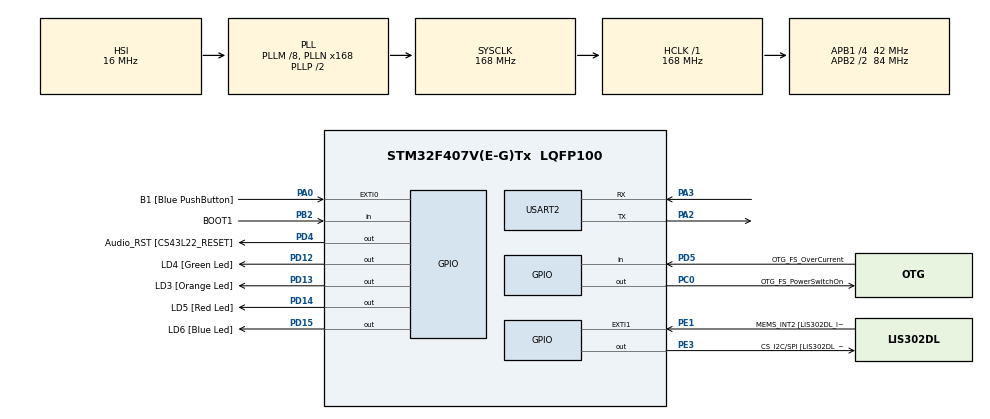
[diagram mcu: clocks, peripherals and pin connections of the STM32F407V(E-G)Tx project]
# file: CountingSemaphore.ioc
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FREERTOS.Tasks01=defaultTask,0,128,StartDefaultTask,Default,NULL,Dynamic,NULL,NULL
FREERTOS.configUSE_COUNTING_SEMAPHORES=1
Mcu.Family=STM32F4
Mcu.Name=STM32F407V(E-G)Tx
Mcu.Package=LQFP100
NVIC.PriorityGroup=NVIC_PRIORITYGROUP_4
NVIC.TIM6_DAC_IRQn=true\:15\:0\:false\:false\:true\:false\:false\:true\:true
NVIC.TimeBase=TIM6_DAC_IRQn
NVIC.TimeBaseIP=TIM6
NVIC.USART2_IRQn=true\:5\:0\:false\:false\:true\:true\:true\:true\:true
PA0-WKUP.GPIO_Label=B1 [Blue PushButton]
PA0-WKUP.Signal=GPXTI0
PA10.GPIO_Label=OTG_FS_ID
PA10.GPIO_Mode=GPIO_MODE_AF_PP
PA10.GPIO_PuPd=GPIO_NOPULL
PA10.GPIO_Speed=GPIO_SPEED_FREQ_LOW
PA10.Signal=USB_OTG_FS_ID
PA11.GPIO_Label=OTG_FS_DM
PA11.GPIO_Mode=GPIO_MODE_AF_PP
PA11.GPIO_PuPd=GPIO_NOPULL
PA11.GPIO_Speed=GPIO_SPEED_FREQ_LOW
PA11.Signal=USB_OTG_FS_DM
PA12.GPIO_Label=OTG_FS_DP
PA12.GPIO_Mode=GPIO_MODE_AF_PP
PA12.GPIO_PuPd=GPIO_NOPULL
PA12.GPIO_Speed=GPIO_SPEED_FREQ_LOW
PA12.Signal=USB_OTG_FS_DP
PA13.GPIO_Label=SWDIO
PA13.Signal=SYS_JTMS-SWDIO
PA14.GPIO_Label=SWCLK
PA14.Signal=SYS_JTCK-SWCLK
PA2.Mode=Asynchronous
PA2.Signal=USART2_TX
PA3.Mode=Asynchronous
PA3.Signal=USART2_RX
PA4.GPIO_Label=I2S3_WS [CS43L22_LRCK]
PA4.GPIO_Mode=GPIO_MODE_AF_PP
PA4.GPIO_PuPd=GPIO_NOPULL
PA4.GPIO_Speed=GPIO_SPEED_FREQ_LOW
PA4.Signal=I2S3_WS
PA5.GPIO_Label=SPI1_SCK [LIS302DL_SCL/SPC]
PA5.GPIO_Mode=GPIO_MODE_AF_PP
PA5.GPIO_PuPd=GPIO_NOPULL
PA5.GPIO_Speed=GPIO_SPEED_FREQ_LOW
PA5.Signal=SPI1_SCK
PA6.GPIO_Label=SPI1_MISO [LIS302DL_SDO]
PA6.GPIO_Mode=GPIO_MODE_AF_PP
PA6.GPIO_PuPd=GPIO_NOPULL
PA6.GPIO_Speed=GPIO_SPEED_FREQ_LOW
PA6.Signal=SPI1_MISO
PA7.GPIO_Label=SPI1_MOSI [LIS302DL_SDA/SDI/SDO]
PA7.GPIO_Mode=GPIO_MODE_AF_PP
PA7.GPIO_PuPd=GPIO_NOPULL
PA7.GPIO_Speed=GPIO_SPEED_FREQ_LOW
PA7.Signal=SPI1_MOSI
PA9.GPIO_Label=VBUS_FS
PA9.GPIO_Mode=GPIO_MODE_INPUT
PA9.GPIO_PuPd=GPIO_NOPULL
PA9.Signal=USB_OTG_FS_VBUS
PB10.GPIO_Label=CLK_IN [MP45DT02_CLK]
PB10.GPIO_Mode=GPIO_MODE_AF_PP
PB10.GPIO_PuPd=GPIO_NOPULL
PB10.GPIO_Speed=GPIO_SPEED_FREQ_LOW
PB10.Signal=I2S2_CK
PB2.GPIO_Label=BOOT1
PB2.GPIO_Mode=GPIO_MODE_INPUT
PB2.GPIO_PuPd=GPIO_NOPULL
PB2.Signal=GPIO_Input
PB3.GPIO_Label=SWO
PB3.Signal=SYS_JTDO-SWO
PB6.GPIO_Label=Audio_SCL [CS43L22_SCL]
PB6.GPIO_Mode=GPIO_MODE_AF_OD
PB6.GPIO_PuPd=GPIO_NOPULL
PB6.GPIO_Speed=GPIO_SPEED_FREQ_LOW
PB6.Signal=I2C1_SCL
PB9.GPIO_Label=Audio_SDA [CS43L22_SDA]
PB9.GPIO_Mode=GPIO_MODE_AF_OD
PB9.GPIO_PuPd=GPIO_NOPULL
PB9.GPIO_Speed=GPIO_SPEED_FREQ_LOW
PB9.Signal=I2C1_SDA
PC0.GPIO_Label=OTG_FS_PowerSwitchOn
PC0.GPIO_PuPd=GPIO_NOPULL
PC0.GPIO_Speed=GPIO_SPEED_FREQ_LOW
PC0.PinState=GPIO_PIN_SET
PC0.Signal=GPIO_Output
PC10.GPIO_Label=I2S3_SCK [CS43L22_SCLK]
PC10.GPIO_Mode=GPIO_MODE_AF_PP
PC10.GPIO_PuPd=GPIO_NOPULL
PC10.GPIO_Speed=GPIO_SPEED_FREQ_LOW
PC10.Signal=I2S3_CK
PC12.GPIO_Label=I2S3_SD [CS43L22_SDIN]
PC12.GPIO_Mode=GPIO_MODE_AF_PP
PC12.GPIO_PuPd=GPIO_NOPULL
PC12.GPIO_Speed=GPIO_SPEED_FREQ_LOW
PC12.Signal=I2S3_SD
PC14-OSC32_IN.GPIO_Label=PC14-OSC32_IN
PC14-OSC32_IN.Signal=RCC_OSC32_IN
PC15-OSC32_OUT.GPIO_Label=PC15-OSC32_OUT
PC15-OSC32_OUT.Signal=RCC_OSC32_OUT
PC3.GPIO_Label=PDM_OUT [MP45DT02_DOUT]
PC3.GPIO_Mode=GPIO_MODE_AF_PP
PC3.GPIO_PuPd=GPIO_NOPULL
PC3.GPIO_Speed=GPIO_SPEED_FREQ_LOW
PC3.Signal=I2S2_SD
PC7.GPIO_Label=I2S3_MCK [CS43L22_MCLK]
PC7.GPIO_Mode=GPIO_MODE_AF_PP
PC7.GPIO_PuPd=GPIO_NOPULL
PC7.GPIO_Speed=GPIO_SPEED_FREQ_LOW
PC7.Signal=I2S3_MCK
PD12.GPIO_Label=LD4 [Green Led]
PD12.GPIO_PuPd=GPIO_NOPULL
PD12.GPIO_Speed=GPIO_SPEED_FREQ_LOW
PD12.Signal=GPIO_Output
PD13.GPIO_Label=LD3 [Orange Led]
PD13.GPIO_PuPd=GPIO_NOPULL
PD13.GPIO_Speed=GPIO_SPEED_FREQ_LOW
PD13.Signal=GPIO_Output
PD14.GPIO_Label=LD5 [Red Led]
PD14.GPIO_PuPd=GPIO_NOPULL
PD14.GPIO_Speed=GPIO_SPEED_FREQ_LOW
PD14.Signal=GPIO_Output
PD15.GPIO_Label=LD6 [Blue Led]
PD15.GPIO_PuPd=GPIO_NOPULL
PD15.GPIO_Speed=GPIO_SPEED_FREQ_LOW
PD15.Signal=GPIO_Output
PD4.GPIO_Label=Audio_RST [CS43L22_RESET]
PD4.GPIO_PuPd=GPIO_NOPULL
PD4.GPIO_Speed=GPIO_SPEED_FREQ_LOW
PD4.Signal=GPIO_Output
PD5.GPIO_Label=OTG_FS_OverCurrent
PD5.GPIO_Mode=GPIO_MODE_INPUT
PD5.GPIO_PuPd=GPIO_NOPULL
PD5.Signal=GPIO_Input
PE1.GPIO_Label=MEMS_INT2 [LIS302DL_INT2]
PE1.GPIO_ModeDefaultEXTI=GPIO_MODE_EVT_RISING
PE1.GPIO_PuPd=GPIO_NOPULL
PE1.Signal=GPXTI1
PE3.GPIO_Label=CS_I2C/SPI [LIS302DL_CS_I2C/SPI]
PE3.GPIO_PuPd=GPIO_NOPULL
PE3.GPIO_Speed=GPIO_SPEED_FREQ_LOW
PE3.Signal=GPIO_Output
PH0-OSC_IN.GPIO_Label=PH0-OSC_IN
PH0-OSC_IN.Mode=HSE-External-Oscillator
PH0-OSC_IN.Signal=RCC_OSC_IN
PH1-OSC_OUT.GPIO_Label=PH1-OSC_OUT
PH1-OSC_OUT.Mode=HSE-External-Oscillator
PH1-OSC_OUT.Signal=RCC_OSC_OUT
ProjectManager.HeapSize=0x200
ProjectManager.StackSize=0x400
ProjectManager.TargetToolchain=STM32CubeIDE
RCC.48MHZClocksFreq_Value=48000000
RCC.AHBFreq_Value=168000000
RCC.APB1CLKDivider=RCC_HCLK_DIV4
RCC.APB1Freq_Value=42000000
RCC.APB1TimFreq_Value=84000000
RCC.APB2CLKDivider=RCC_HCLK_DIV2
RCC.APB2Freq_Value=84000000
RCC.APB2TimFreq_Value=168000000
RCC.CortexFreq_Value=168000000
RCC.HCLKFreq_Value=168000000
RCC.HSE_VALUE=8000000
RCC.HSI_VALUE=16000000
RCC.LSE_VALUE=32768
RCC.PLLM=8
RCC.PLLN=168
RCC.PLLQ=7
RCC.SYSCLKFreq_VALUE=168000000
RCC.SYSCLKSource=RCC_SYSCLKSOURCE_PLLCLK
RCC.VCOOutputFreq_Value=336000000
USART2.VirtualMode=VM_ASYNC
VP_FREERTOS_VS_CMSIS_V1.Mode=CMSIS_V1
VP_SYS_VS_tim6.Mode=TIM6
board=STM32F407G-DISC1

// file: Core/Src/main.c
/* USER CODE BEGIN Header */
/**
  ******************************************************************************
  * @file           : main.c
  * @brief          : Main program body
  ******************************************************************************
  * @attention
  *
  * Copyright (c) 2024 STMicroelectronics.
  * All rights reserved.
  *
  * This software is licensed under terms that can be found in the LICENSE file
  * in the root directory of this software component.
  * If no LICENSE file comes with this software, it is provided AS-IS.
  *
  ******************************************************************************
  */
/* USER CODE END Header */
#include "main.h"
#include "cmsis_os.h"

/* USER CODE BEGIN Includes */

#include "FreeRTOS.h"
#include "task.h"
#include "timers.h"
#include "queue.h"
#include "semphr.h"
#include "event_groups.h"

#include "stdlib.h"
#include "string.h"

/* USER CODE END Includes */

UART_HandleTypeDef huart2;

osThreadId defaultTaskHandle;

void SystemClock_Config(void);
static void MX_GPIO_Init(void);
static void MX_USART2_UART_Init(void);
void StartDefaultTask(void const * argument);

/* USER CODE BEGIN 0 */

// create task defines
TaskHandle_t HPThandler;
void HPT_TASK (void *pvParameters);

TaskHandle_t MPThandler;
void MPT_TASK (void *pvParameters);

TaskHandle_t LPThandler;
void LPT_TASK (void *pvParameters);

TaskHandle_t VLPThandler;
void VLPT_TASK (void *pvParameters);

// semaphore related
SemaphoreHandle_t CountingSem;

// resource related
int resource[3] = {111,222,333};
int indx = 0;

// uart related
uint8_t rx_data = 0;

/* USER CODE END 0 */

int main(void)
{

  /* MCU Configuration--------------------------------------------------------*/

  /* Reset of all peripherals, Initializes the Flash interface and the Systick. */
  HAL_Init();

  /* Configure the system clock */
  SystemClock_Config();

  /* Initialize all configured peripherals */
  MX_GPIO_Init();
  MX_USART2_UART_Init();
  /* USER CODE BEGIN 2 */

//  HAL_UART_Receive_IT(&huart2, &rx_data, 1);
  CountingSem = xSemaphoreCreateCounting(3, 0);
  if(CountingSem == NULL)
  {
	  HAL_UART_Transmit(&huart2, (uint8_t*)"Unable to create semaphore \n\n", 28, 100);
  }
  else
  {
	  HAL_UART_Transmit(&huart2, (uint8_t*)"Counting semaphore created successfully \n\n", 28, 1000);
  }

  	xTaskCreate(HPT_TASK, "HPT", 128, NULL, 3, &HPThandler);
    xTaskCreate(MPT_TASK, "MPT", 128, NULL, 2, &MPThandler);
    xTaskCreate(LPT_TASK, "LPT", 128, NULL, 1, &LPThandler);
    xTaskCreate(VLPT_TASK, "VLPT", 128, NULL, 0, &VLPThandler);

    vTaskStartScheduler();

  /* USER CODE END 2 */

  /* Create the thread(s) */
  /* definition and creation of defaultTask */
  osThreadDef(defaultTask, StartDefaultTask, osPriorityNormal, 0, 128);
  defaultTaskHandle = osThreadCreate(osThread(defaultTask), NULL);

  /* Start scheduler */
  osKernelStart();

  /* We should never get here as control is now taken by the scheduler */
  /* Infinite loop */
  while (1)
  {

  }
}

void SystemClock_Config(void)
{
  RCC_OscInitTypeDef RCC_OscInitStruct = {0};
  RCC_ClkInitTypeDef RCC_ClkInitStruct = {0};

  /** Configure the main internal regulator output voltage
  */
  __HAL_RCC_PWR_CLK_ENABLE();
  __HAL_PWR_VOLTAGESCALING_CONFIG(PWR_REGULATOR_VOLTAGE_SCALE1);

  /** Initializes the RCC Oscillators according to the specified parameters
  * in the RCC_OscInitTypeDef structure.
  */
  RCC_OscInitStruct.OscillatorType = RCC_OSCILLATORTYPE_HSI;
  RCC_OscInitStruct.HSIState = RCC_HSI_ON;
  RCC_OscInitStruct.HSICalibrationValue = RCC_HSICALIBRATION_DEFAULT;
  RCC_OscInitStruct.PLL.PLLState = RCC_PLL_ON;
  RCC_OscInitStruct.PLL.PLLSource = RCC_PLLSOURCE_HSI;
  RCC_OscInitStruct.PLL.PLLM = 8;
  RCC_OscInitStruct.PLL.PLLN = 168;
  RCC_OscInitStruct.PLL.PLLP = RCC_PLLP_DIV2;
  RCC_OscInitStruct.PLL.PLLQ = 7;
  if (HAL_RCC_OscConfig(&RCC_OscInitStruct) != HAL_OK)
  {
    Error_Handler();
  }

  /** Initializes the CPU, AHB and APB buses clocks
  */
  RCC_ClkInitStruct.ClockType = RCC_CLOCKTYPE_HCLK|RCC_CLOCKTYPE_SYSCLK
                              |RCC_CLOCKTYPE_PCLK1|RCC_CLOCKTYPE_PCLK2;
  RCC_ClkInitStruct.SYSCLKSource = RCC_SYSCLKSOURCE_PLLCLK;
  RCC_ClkInitStruct.AHBCLKDivider = RCC_SYSCLK_DIV1;
  RCC_ClkInitStruct.APB1CLKDivider = RCC_HCLK_DIV4;
  RCC_ClkInitStruct.APB2CLKDivider = RCC_HCLK_DIV2;

  if (HAL_RCC_ClockConfig(&RCC_ClkInitStruct, FLASH_LATENCY_5) != HAL_OK)
  {
    Error_Handler();
  }
}

static void MX_USART2_UART_Init(void)
{

  huart2.Instance = USART2;
  huart2.Init.BaudRate = 115200;
  huart2.Init.WordLength = UART_WORDLENGTH_8B;
  huart2.Init.StopBits = UART_STOPBITS_1;
  huart2.Init.Parity = UART_PARITY_NONE;
  huart2.Init.Mode = UART_MODE_TX_RX;
  huart2.Init.HwFlowCtl = UART_HWCONTROL_NONE;
  huart2.Init.OverSampling = UART_OVERSAMPLING_16;
  if (HAL_UART_Init(&huart2) != HAL_OK)
  {
    Error_Handler();
  }

}

static void MX_GPIO_Init(void)
{
  GPIO_InitTypeDef GPIO_InitStruct = {0};

  /* GPIO Ports Clock Enable */
  __HAL_RCC_GPIOE_CLK_ENABLE();
  __HAL_RCC_GPIOC_CLK_ENABLE();
  __HAL_RCC_GPIOH_CLK_ENABLE();
  __HAL_RCC_GPIOA_CLK_ENABLE();
  __HAL_RCC_GPIOB_CLK_ENABLE();
  __HAL_RCC_GPIOD_CLK_ENABLE();

  /*Configure GPIO pin Output Level */
  HAL_GPIO_WritePin(CS_I2C_SPI_GPIO_Port, CS_I2C_SPI_Pin, GPIO_PIN_RESET);

  /*Configure GPIO pin Output Level */
  HAL_GPIO_WritePin(OTG_FS_PowerSwitchOn_GPIO_Port, OTG_FS_PowerSwitchOn_Pin, GPIO_PIN_SET);

  /*Configure GPIO pin Output Level */
  HAL_GPIO_WritePin(GPIOD, LD4_Pin|LD3_Pin|LD5_Pin|LD6_Pin
                          |Audio_RST_Pin, GPIO_PIN_RESET);

  /*Configure GPIO pin : CS_I2C_SPI_Pin */
  GPIO_InitStruct.Pin = CS_I2C_SPI_Pin;
  GPIO_InitStruct.Mode = GPIO_MODE_OUTPUT_PP;
  GPIO_InitStruct.Pull = GPIO_NOPULL;
  GPIO_InitStruct.Speed = GPIO_SPEED_FREQ_LOW;
  HAL_GPIO_Init(CS_I2C_SPI_GPIO_Port, &GPIO_InitStruct);

  /*Configure GPIO pin : OTG_FS_PowerSwitchOn_Pin */
  GPIO_InitStruct.Pin = OTG_FS_PowerSwitchOn_Pin;
  GPIO_InitStruct.Mode = GPIO_MODE_OUTPUT_PP;
  GPIO_InitStruct.Pull = GPIO_NOPULL;
  GPIO_InitStruct.Speed = GPIO_SPEED_FREQ_LOW;
  HAL_GPIO_Init(OTG_FS_PowerSwitchOn_GPIO_Port, &GPIO_InitStruct);

  /*Configure GPIO pin : PDM_OUT_Pin */
  GPIO_InitStruct.Pin = PDM_OUT_Pin;
  GPIO_InitStruct.Mode = GPIO_MODE_AF_PP;
  GPIO_InitStruct.Pull = GPIO_NOPULL;
  GPIO_InitStruct.Speed = GPIO_SPEED_FREQ_LOW;
  GPIO_InitStruct.Alternate = GPIO_AF5_SPI2;
  HAL_GPIO_Init(PDM_OUT_GPIO_Port, &GPIO_InitStruct);

  /*Configure GPIO pin : B1_Pin */
  GPIO_InitStruct.Pin = B1_Pin;
  GPIO_InitStruct.Mode = GPIO_MODE_IT_RISING;
  GPIO_InitStruct.Pull = GPIO_NOPULL;
  HAL_GPIO_Init(B1_GPIO_Port, &GPIO_InitStruct);

  /*Configure GPIO pin : I2S3_WS_Pin */
  GPIO_InitStruct.Pin = I2S3_WS_Pin;
  GPIO_InitStruct.Mode = GPIO_MODE_AF_PP;
  GPIO_InitStruct.Pull = GPIO_NOPULL;
  GPIO_InitStruct.Speed = GPIO_SPEED_FREQ_LOW;
  GPIO_InitStruct.Alternate = GPIO_AF6_SPI3;
  HAL_GPIO_Init(I2S3_WS_GPIO_Port, &GPIO_InitStruct);

  /*Configure GPIO pins : SPI1_SCK_Pin SPI1_MISO_Pin SPI1_MOSI_Pin */
  GPIO_InitStruct.Pin = SPI1_SCK_Pin|SPI1_MISO_Pin|SPI1_MOSI_Pin;
  GPIO_InitStruct.Mode = GPIO_MODE_AF_PP;
  GPIO_InitStruct.Pull = GPIO_NOPULL;
  GPIO_InitStruct.Speed = GPIO_SPEED_FREQ_LOW;
  GPIO_InitStruct.Alternate = GPIO_AF5_SPI1;
  HAL_GPIO_Init(GPIOA, &GPIO_InitStruct);

  /*Configure GPIO pin : BOOT1_Pin */
  GPIO_InitStruct.Pin = BOOT1_Pin;
  GPIO_InitStruct.Mode = GPIO_MODE_INPUT;
  GPIO_InitStruct.Pull = GPIO_NOPULL;
  HAL_GPIO_Init(BOOT1_GPIO_Port, &GPIO_InitStruct);

  /*Configure GPIO pin : CLK_IN_Pin */
  GPIO_InitStruct.Pin = CLK_IN_Pin;
  GPIO_InitStruct.Mode = GPIO_MODE_AF_PP;
  GPIO_InitStruct.Pull = GPIO_NOPULL;
  GPIO_InitStruct.Speed = GPIO_SPEED_FREQ_LOW;
  GPIO_InitStruct.Alternate = GPIO_AF5_SPI2;
  HAL_GPIO_Init(CLK_IN_GPIO_Port, &GPIO_InitStruct);

  /*Configure GPIO pins : LD4_Pin LD3_Pin LD5_Pin LD6_Pin
                           Audio_RST_Pin */
  GPIO_InitStruct.Pin = LD4_Pin|LD3_Pin|LD5_Pin|LD6_Pin
                          |Audio_RST_Pin;
  GPIO_InitStruct.Mode = GPIO_MODE_OUTPUT_PP;
  GPIO_InitStruct.Pull = GPIO_NOPULL;
  GPIO_InitStruct.Speed = GPIO_SPEED_FREQ_LOW;
  HAL_GPIO_Init(GPIOD, &GPIO_InitStruct);

  /*Configure GPIO pins : I2S3_MCK_Pin I2S3_SCK_Pin I2S3_SD_Pin */
  GPIO_InitStruct.Pin = I2S3_MCK_Pin|I2S3_SCK_Pin|I2S3_SD_Pin;
  GPIO_InitStruct.Mode = GPIO_MODE_AF_PP;
  GPIO_InitStruct.Pull = GPIO_NOPULL;
  GPIO_InitStruct.Speed = GPIO_SPEED_FREQ_LOW;
  GPIO_InitStruct.Alternate = GPIO_AF6_SPI3;
  HAL_GPIO_Init(GPIOC, &GPIO_InitStruct);

  /*Configure GPIO pin : VBUS_FS_Pin */
  GPIO_InitStruct.Pin = VBUS_FS_Pin;
  GPIO_InitStruct.Mode = GPIO_MODE_INPUT;
  GPIO_InitStruct.Pull = GPIO_NOPULL;
  HAL_GPIO_Init(VBUS_FS_GPIO_Port, &GPIO_InitStruct);

  /*Configure GPIO pins : OTG_FS_ID_Pin OTG_FS_DM_Pin OTG_FS_DP_Pin */
  GPIO_InitStruct.Pin = OTG_FS_ID_Pin|OTG_FS_DM_Pin|OTG_FS_DP_Pin;
  GPIO_InitStruct.Mode = GPIO_MODE_AF_PP;
  GPIO_InitStruct.Pull = GPIO_NOPULL;
  GPIO_InitStruct.Speed = GPIO_SPEED_FREQ_LOW;
  GPIO_InitStruct.Alternate = GPIO_AF10_OTG_FS;
  HAL_GPIO_Init(GPIOA, &GPIO_InitStruct);

  /*Configure GPIO pin : OTG_FS_OverCurrent_Pin */
  GPIO_InitStruct.Pin = OTG_FS_OverCurrent_Pin;
  GPIO_InitStruct.Mode = GPIO_MODE_INPUT;
  GPIO_InitStruct.Pull = GPIO_NOPULL;
  HAL_GPIO_Init(OTG_FS_OverCurrent_GPIO_Port, &GPIO_InitStruct);

  /*Configure GPIO pins : Audio_SCL_Pin Audio_SDA_Pin */
  GPIO_InitStruct.Pin = Audio_SCL_Pin|Audio_SDA_Pin;
  GPIO_InitStruct.Mode = GPIO_MODE_AF_OD;
  GPIO_InitStruct.Pull = GPIO_NOPULL;
  GPIO_InitStruct.Speed = GPIO_SPEED_FREQ_LOW;
  GPIO_InitStruct.Alternate = GPIO_AF4_I2C1;
  HAL_GPIO_Init(GPIOB, &GPIO_InitStruct);

  /*Configure GPIO pin : MEMS_INT2_Pin */
  GPIO_InitStruct.Pin = MEMS_INT2_Pin;
  GPIO_InitStruct.Mode = GPIO_MODE_EVT_RISING;
  GPIO_InitStruct.Pull = GPIO_NOPULL;
  HAL_GPIO_Init(MEMS_INT2_GPIO_Port, &GPIO_InitStruct);

}

/* USER CODE BEGIN 4 */

void HPT_TASK(void *pvParameters)
{
	char sresource[3];

	int semcount = 0;

	char ssemcount[2];

	//Give 3 semaphores at the beginning
	xSemaphoreGive(CountingSem);
	xSemaphoreGive(CountingSem);
	xSemaphoreGive(CountingSem);

	while(1)
	{
		char str[150];
		strcpy(str, "Entered HPT Task\n About to acquire to semaphore \n");
		itoa(semcount,ssemcount,10);
		strcat(str , "Tokens available are :");
		strcat(str, ssemcount);
		strcat(str, "\n\n");
		HAL_UART_Transmit(&huart2, (uint8_t *)str, strlen(str), HAL_MAX_DELAY);

		xSemaphoreTake(CountingSem, portMAX_DELAY);

		itoa(resource[indx], sresource, 10);
		strcpy(str, "Leaving HPT Tasks \n Data ACCESSED is ::");
		strcat(str, sresource);
		strcat(str, "\n Not releasing the semaphore\n\n");
		HAL_UART_Transmit(&huart2, (uint8_t *)str, strlen(str), HAL_MAX_DELAY);

		indx++;
		if(indx>2)
		{
			indx=0;
		}
//		vTaskDelay(3000);
		vTaskDelete(NULL);
	}
}

void MPT_TASK(void *pvParameters)
{
	char sresource[3];

	int semcount = 0;

	char ssemcount[2];

	while(1)
	{
		char str[150];
		strcpy(str, "Entered MPT Task\n About to acquire to semaphore \n");
		semcount = uxSemaphoreGetCount(CountingSem);
		itoa(semcount,ssemcount,10);
		strcat(str , "Tokens available are :");
		strcat(str, ssemcount);
		strcat(str, "\n\n");
		HAL_UART_Transmit(&huart2, (uint8_t *)str, strlen(str), HAL_MAX_DELAY);

		xSemaphoreTake(CountingSem, portMAX_DELAY);

		itoa(resource[indx], sresource, 10);
		strcpy(str, "Leaving MPT Tasks \n Data ACCESSED is ::");
		strcat(str, sresource);
		strcat(str, "\n Not releasing the semaphore\n\n");
		HAL_UART_Transmit(&huart2, (uint8_t *)str, strlen(str), HAL_MAX_DELAY);

		indx++;
		if(indx>2)
		{
			indx=0;
		}
		vTaskDelay(2000);
	}
}

void LPT_TASK(void *pvParameters)
{
	char sresource[3];
	int semcount = 0;

	char ssemcount[2];

	while(1)
	{
		char str[150];
		strcpy(str, "Entered LPT Task\n About to acquire to semaphore \n");
		itoa(semcount,ssemcount,10);
		strcat(str , "Tokens available are :");
		strcat(str, ssemcount);
		strcat(str, "\n\n");
		HAL_UART_Transmit(&huart2, (uint8_t *)str, strlen(str), HAL_MAX_DELAY);

		xSemaphoreTake(CountingSem, portMAX_DELAY);

		itoa(resource[indx], sresource, 10);
		strcpy(str, "Leaving LPT Tasks \n Data ACCESSED is ::");
		strcat(str, sresource);
		strcat(str, "\n Not releasing the semaphore\n\n");
		HAL_UART_Transmit(&huart2, (uint8_t *)str, strlen(str), HAL_MAX_DELAY);

		indx++;
		if(indx>2)
		{
			indx=0;
		}
		vTaskDelay(1000);
	}
}
void VLPT_TASK(void *pvParameters)
{
	char sresource[3];
	int semcount = 0;

	char ssemcount[2];

	while(1)
	{
		char str[150];
		strcpy(str, "Entered VLPT Task\n About to acquire to semaphore \n");
		itoa(semcount,ssemcount,10);
		strcat(str , "Tokens available are :");
		strcat(str, ssemcount);
		strcat(str, "\n\n");
		HAL_UART_Transmit(&huart2, (uint8_t *)str, strlen(str), HAL_MAX_DELAY);

		xSemaphoreTake(CountingSem, portMAX_DELAY);

		itoa(resource[indx], sresource, 10);
		strcpy(str, "Leaving VLPT Tasks \n Data ACCESSED is ::");
		strcat(str, sresource);
		strcat(str, "\n Not releasing the semaphore\n\n");
		HAL_UART_Transmit(&huart2, (uint8_t *)str, strlen(str), HAL_MAX_DELAY);

		indx++;
		if(indx>2)
		{
			indx=0;
		}
		vTaskDelay(500);
	}
}

void HAL_UART_RxCpltCallback(UART_HandleTypeDef *huart)
{
	HAL_UART_Receive_IT(huart, &rx_data, 1);
	if (rx_data == 'r')
	{
		BaseType_t xHigherPriorityTaskWoken = pdFALSE;

		xSemaphoreGiveFromISR(CountingSem, &xHigherPriorityTaskWoken);
		portEND_SWITCHING_ISR(xHigherPriorityTaskWoken);
	}
}
/* USER CODE END 4 */

void StartDefaultTask(void const * argument)
{
  for(;;)
  {
    osDelay(1);
  }
}

void HAL_TIM_PeriodElapsedCallback(TIM_HandleTypeDef *htim)
{
  if (htim->Instance == TIM6) {
    HAL_IncTick();
  }
}

void Error_Handler(void)
{
  __disable_irq();
  while (1)
  {
  }
}
